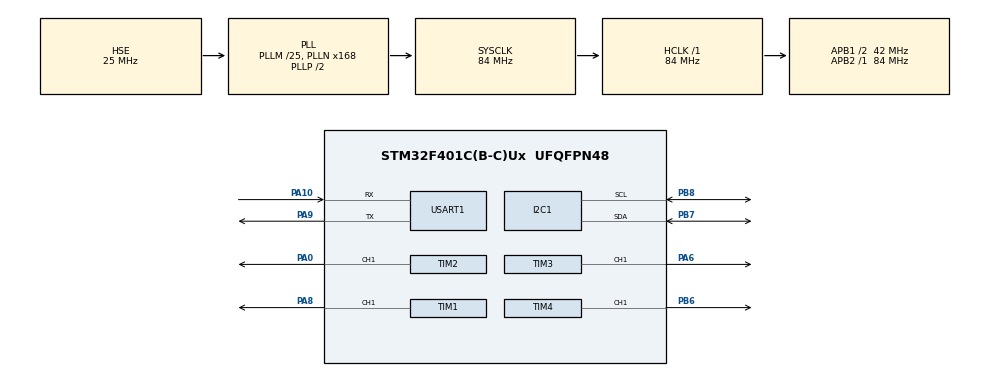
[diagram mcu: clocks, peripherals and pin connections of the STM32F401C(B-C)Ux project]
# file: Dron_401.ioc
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I2C1.OwnAddress=0x12
Mcu.Family=STM32F4
Mcu.Name=STM32F401C(B-C)Ux
Mcu.Package=UFQFPN48
NVIC.I2C1_ER_IRQn=true\:0\:0\:false\:false\:true\:true\:true\:true
NVIC.I2C1_EV_IRQn=true\:0\:0\:false\:false\:true\:true\:true\:true
NVIC.PriorityGroup=NVIC_PRIORITYGROUP_4
NVIC.TIM1_TRG_COM_TIM11_IRQn=true\:15\:0\:false\:false\:true\:false\:true\:true
NVIC.TimeBase=TIM1_TRG_COM_TIM11_IRQn
NVIC.TimeBaseIP=TIM11
NVIC.USART1_IRQn=true\:0\:0\:false\:false\:true\:true\:true\:true
PA0-WKUP.Signal=S_TIM2_CH1_ETR
PA10.Mode=Asynchronous
PA10.Signal=USART1_RX
PA13.Mode=Serial_Wire
PA13.Signal=SYS_JTMS-SWDIO
PA14.Mode=Serial_Wire
PA14.Signal=SYS_JTCK-SWCLK
PA6.Signal=S_TIM3_CH1
PA8.Signal=S_TIM1_CH1
PA9.Mode=Asynchronous
PA9.Signal=USART1_TX
PB6.Signal=S_TIM4_CH1
PB7.Mode=I2C
PB7.Signal=I2C1_SDA
PB8.Mode=I2C
PB8.Signal=I2C1_SCL
PC14-OSC32_IN.Mode=LSE-External-Oscillator
PC14-OSC32_IN.Signal=RCC_OSC32_IN
PC15-OSC32_OUT.Mode=LSE-External-Oscillator
PC15-OSC32_OUT.Signal=RCC_OSC32_OUT
PH0\ -\ OSC_IN.Mode=HSE-External-Oscillator
PH0\ -\ OSC_IN.Signal=RCC_OSC_IN
PH1\ -\ OSC_OUT.Mode=HSE-External-Oscillator
PH1\ -\ OSC_OUT.Signal=RCC_OSC_OUT
ProjectManager.HeapSize=0x200
ProjectManager.StackSize=0x400
ProjectManager.TargetToolchain=STM32CubeIDE
RCC.48MHZClocksFreq_Value=42000000
RCC.AHBFreq_Value=84000000
RCC.APB1CLKDivider=RCC_HCLK_DIV2
RCC.APB1Freq_Value=42000000
RCC.APB1TimFreq_Value=84000000
RCC.APB2Freq_Value=84000000
RCC.APB2TimFreq_Value=84000000
RCC.CortexFreq_Value=84000000
RCC.HCLKFreq_Value=84000000
RCC.HSE_VALUE=25000000
RCC.HSI_VALUE=16000000
RCC.PLLM=25
RCC.PLLN=168
RCC.PLLSourceVirtual=RCC_PLLSOURCE_HSE
RCC.SYSCLKFreq_VALUE=84000000
RCC.SYSCLKSource=RCC_SYSCLKSOURCE_PLLCLK
RCC.VCOOutputFreq_Value=168000000
SH.S_TIM1_CH1.0=TIM1_CH1,PWM Generation1 CH1
SH.S_TIM2_CH1_ETR.0=TIM2_CH1,PWM Generation1 CH1
SH.S_TIM3_CH1.0=TIM3_CH1,PWM Generation1 CH1
SH.S_TIM4_CH1.0=TIM4_CH1,PWM Generation1 CH1
TIM1.Channel-PWM\ Generation1\ CH1=TIM_CHANNEL_1
TIM2.Channel-PWM\ Generation1\ CH1=TIM_CHANNEL_1
TIM3.Channel-PWM\ Generation1\ CH1=TIM_CHANNEL_1
TIM4.Channel-PWM\ Generation1\ CH1=TIM_CHANNEL_1
USART1.VirtualMode=VM_ASYNC
VP_RTC_VS_RTC_Activate.Mode=RTC_Enabled
VP_SYS_VS_tim11.Mode=TIM11
board=custom

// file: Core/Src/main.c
/* USER CODE BEGIN Header */
/**
  ******************************************************************************
  * @file           : main.c
  * @brief          : Main program body
  ******************************************************************************
  * @attention
  *
  * Copyright (c) 2024 STMicroelectronics.
  * All rights reserved.
  *
  * This software is licensed under terms that can be found in the LICENSE file
  * in the root directory of this software component.
  * If no LICENSE file comes with this software, it is provided AS-IS.
  *
  ******************************************************************************
  */
/* USER CODE END Header */
#include "main.h"

I2C_HandleTypeDef hi2c1;

RTC_HandleTypeDef hrtc;

TIM_HandleTypeDef htim1;
TIM_HandleTypeDef htim2;
TIM_HandleTypeDef htim3;
TIM_HandleTypeDef htim4;

UART_HandleTypeDef huart1;

/* USER CODE BEGIN PV */
char rx_buffer[64];
volatile uint8_t rx_index = 0;
volatile uint8_t rx_complete = 0;

void ResetI2C(I2C_HandleTypeDef* rev_i2c)
{
	HAL_I2C_DeInit(rev_i2c);
	HAL_I2C_Init(rev_i2c);
}
/* USER CODE END PV */

void SystemClock_Config(void);
static void MX_GPIO_Init(void);
static void MX_I2C1_Init(void);
static void MX_TIM1_Init(void);
static void MX_TIM2_Init(void);
static void MX_TIM3_Init(void);
static void MX_TIM4_Init(void);
static void MX_RTC_Init(void);
static void MX_USART1_UART_Init(void);
/* USER CODE BEGIN PFP */
void TIM_PWM_Init(uint32_t frequency, TIM_HandleTypeDef *htim);
void ProcessCommand(char* command);
/* USER CODE END PFP */

int main(void)
{

  /* MCU Configuration--------------------------------------------------------*/

  /* Reset of all peripherals, Initializes the Flash interface and the Systick. */
  HAL_Init();

  /* Configure the system clock */
  SystemClock_Config();

  /* Initialize all configured peripherals */
  MX_GPIO_Init();
  MX_I2C1_Init();
  MX_TIM1_Init();
  MX_TIM2_Init();
  MX_TIM3_Init();
  MX_TIM4_Init();
  MX_RTC_Init();
  MX_USART1_UART_Init();
  /* USER CODE BEGIN 2 */

  if (HAL_I2C_EnableListen_IT(&hi2c1) != HAL_OK)
  {
	  Error_Handler();
  }

  //uint32_t frequency = 10000; // Частота таймера (в Гц)
       //  TIM_PWM_Init(frequency, &htim1);
       //  frequency = 111;
       //  TIM_PWM_Init(frequency, &htim2);
       //  frequency = 444;
       //  TIM_PWM_Init(frequency, &htim3);
       //  frequency = 5555;
       // TIM_PWM_Init(frequency, &htim4);

        HAL_UART_Receive_IT(&huart1, (uint8_t *)&rx_buffer[rx_index], 1);
  /* USER CODE END 2 */

  /* Infinite loop */
  while (1)
  {
	  if (rx_complete)
	     {
	       ProcessCommand(rx_buffer);
	       rx_index = 0;
	       rx_complete = 0;
	       HAL_UART_Receive_IT(&huart1, (uint8_t *)&rx_buffer[rx_index], 1);
	     }
  }
}

void SystemClock_Config(void)
{
  RCC_OscInitTypeDef RCC_OscInitStruct = {0};
  RCC_ClkInitTypeDef RCC_ClkInitStruct = {0};

  /** Configure the main internal regulator output voltage
  */
  __HAL_RCC_PWR_CLK_ENABLE();
  __HAL_PWR_VOLTAGESCALING_CONFIG(PWR_REGULATOR_VOLTAGE_SCALE2);

  /** Initializes the RCC Oscillators according to the specified parameters
  * in the RCC_OscInitTypeDef structure.
  */
  RCC_OscInitStruct.OscillatorType = RCC_OSCILLATORTYPE_LSI|RCC_OSCILLATORTYPE_HSE;
  RCC_OscInitStruct.HSEState = RCC_HSE_ON;
  RCC_OscInitStruct.LSIState = RCC_LSI_ON;
  RCC_OscInitStruct.PLL.PLLState = RCC_PLL_ON;
  RCC_OscInitStruct.PLL.PLLSource = RCC_PLLSOURCE_HSE;
  RCC_OscInitStruct.PLL.PLLM = 25;
  RCC_OscInitStruct.PLL.PLLN = 168;
  RCC_OscInitStruct.PLL.PLLP = RCC_PLLP_DIV2;
  RCC_OscInitStruct.PLL.PLLQ = 4;
  if (HAL_RCC_OscConfig(&RCC_OscInitStruct) != HAL_OK)
  {
    Error_Handler();
  }

  /** Initializes the CPU, AHB and APB buses clocks
  */
  RCC_ClkInitStruct.ClockType = RCC_CLOCKTYPE_HCLK|RCC_CLOCKTYPE_SYSCLK
                              |RCC_CLOCKTYPE_PCLK1|RCC_CLOCKTYPE_PCLK2;
  RCC_ClkInitStruct.SYSCLKSource = RCC_SYSCLKSOURCE_PLLCLK;
  RCC_ClkInitStruct.AHBCLKDivider = RCC_SYSCLK_DIV1;
  RCC_ClkInitStruct.APB1CLKDivider = RCC_HCLK_DIV2;
  RCC_ClkInitStruct.APB2CLKDivider = RCC_HCLK_DIV1;

  if (HAL_RCC_ClockConfig(&RCC_ClkInitStruct, FLASH_LATENCY_2) != HAL_OK)
  {
    Error_Handler();
  }
}

static void MX_I2C1_Init(void)
{

  hi2c1.Instance = I2C1;
  hi2c1.Init.ClockSpeed = 100000;
  hi2c1.Init.DutyCycle = I2C_DUTYCYCLE_2;
  hi2c1.Init.OwnAddress1 = 36;
  hi2c1.Init.AddressingMode = I2C_ADDRESSINGMODE_7BIT;
  hi2c1.Init.DualAddressMode = I2C_DUALADDRESS_DISABLE;
  hi2c1.Init.OwnAddress2 = 0;
  hi2c1.Init.GeneralCallMode = I2C_GENERALCALL_DISABLE;
  hi2c1.Init.NoStretchMode = I2C_NOSTRETCH_DISABLE;
  if (HAL_I2C_Init(&hi2c1) != HAL_OK)
  {
    Error_Handler();
  }

}

static void MX_RTC_Init(void)
{

  /** Initialize RTC Only
  */
  hrtc.Instance = RTC;
  hrtc.Init.HourFormat = RTC_HOURFORMAT_24;
  hrtc.Init.AsynchPrediv = 127;
  hrtc.Init.SynchPrediv = 255;
  hrtc.Init.OutPut = RTC_OUTPUT_DISABLE;
  hrtc.Init.OutPutPolarity = RTC_OUTPUT_POLARITY_HIGH;
  hrtc.Init.OutPutType = RTC_OUTPUT_TYPE_OPENDRAIN;
  if (HAL_RTC_Init(&hrtc) != HAL_OK)
  {
    Error_Handler();
  }

}

static void MX_TIM1_Init(void)
{

  TIM_MasterConfigTypeDef sMasterConfig = {0};
  TIM_OC_InitTypeDef sConfigOC = {0};
  TIM_BreakDeadTimeConfigTypeDef sBreakDeadTimeConfig = {0};

  htim1.Instance = TIM1;
  htim1.Init.Prescaler = 0;
  htim1.Init.CounterMode = TIM_COUNTERMODE_UP;
  htim1.Init.Period = 65535;
  htim1.Init.ClockDivision = TIM_CLOCKDIVISION_DIV1;
  htim1.Init.RepetitionCounter = 0;
  htim1.Init.AutoReloadPreload = TIM_AUTORELOAD_PRELOAD_DISABLE;
  if (HAL_TIM_PWM_Init(&htim1) != HAL_OK)
  {
    Error_Handler();
  }
  sMasterConfig.MasterOutputTrigger = TIM_TRGO_RESET;
  sMasterConfig.MasterSlaveMode = TIM_MASTERSLAVEMODE_DISABLE;
  if (HAL_TIMEx_MasterConfigSynchronization(&htim1, &sMasterConfig) != HAL_OK)
  {
    Error_Handler();
  }
  sConfigOC.OCMode = TIM_OCMODE_PWM1;
  sConfigOC.Pulse = 0;
  sConfigOC.OCPolarity = TIM_OCPOLARITY_HIGH;
  sConfigOC.OCNPolarity = TIM_OCNPOLARITY_HIGH;
  sConfigOC.OCFastMode = TIM_OCFAST_DISABLE;
  sConfigOC.OCIdleState = TIM_OCIDLESTATE_RESET;
  sConfigOC.OCNIdleState = TIM_OCNIDLESTATE_RESET;
  if (HAL_TIM_PWM_ConfigChannel(&htim1, &sConfigOC, TIM_CHANNEL_1) != HAL_OK)
  {
    Error_Handler();
  }
  sBreakDeadTimeConfig.OffStateRunMode = TIM_OSSR_DISABLE;
  sBreakDeadTimeConfig.OffStateIDLEMode = TIM_OSSI_DISABLE;
  sBreakDeadTimeConfig.LockLevel = TIM_LOCKLEVEL_OFF;
  sBreakDeadTimeConfig.DeadTime = 0;
  sBreakDeadTimeConfig.BreakState = TIM_BREAK_DISABLE;
  sBreakDeadTimeConfig.BreakPolarity = TIM_BREAKPOLARITY_HIGH;
  sBreakDeadTimeConfig.AutomaticOutput = TIM_AUTOMATICOUTPUT_DISABLE;
  if (HAL_TIMEx_ConfigBreakDeadTime(&htim1, &sBreakDeadTimeConfig) != HAL_OK)
  {
    Error_Handler();
  }
  HAL_TIM_MspPostInit(&htim1);

}

static void MX_TIM2_Init(void)
{

  TIM_MasterConfigTypeDef sMasterConfig = {0};
  TIM_OC_InitTypeDef sConfigOC = {0};

  htim2.Instance = TIM2;
  htim2.Init.Prescaler = 0;
  htim2.Init.CounterMode = TIM_COUNTERMODE_UP;
  htim2.Init.Period = 4294967295;
  htim2.Init.ClockDivision = TIM_CLOCKDIVISION_DIV1;
  htim2.Init.AutoReloadPreload = TIM_AUTORELOAD_PRELOAD_DISABLE;
  if (HAL_TIM_PWM_Init(&htim2) != HAL_OK)
  {
    Error_Handler();
  }
  sMasterConfig.MasterOutputTrigger = TIM_TRGO_RESET;
  sMasterConfig.MasterSlaveMode = TIM_MASTERSLAVEMODE_DISABLE;
  if (HAL_TIMEx_MasterConfigSynchronization(&htim2, &sMasterConfig) != HAL_OK)
  {
    Error_Handler();
  }
  sConfigOC.OCMode = TIM_OCMODE_PWM1;
  sConfigOC.Pulse = 0;
  sConfigOC.OCPolarity = TIM_OCPOLARITY_HIGH;
  sConfigOC.OCFastMode = TIM_OCFAST_DISABLE;
  if (HAL_TIM_PWM_ConfigChannel(&htim2, &sConfigOC, TIM_CHANNEL_1) != HAL_OK)
  {
    Error_Handler();
  }
  HAL_TIM_MspPostInit(&htim2);

}

static void MX_TIM3_Init(void)
{

  TIM_MasterConfigTypeDef sMasterConfig = {0};
  TIM_OC_InitTypeDef sConfigOC = {0};

  htim3.Instance = TIM3;
  htim3.Init.Prescaler = 0;
  htim3.Init.CounterMode = TIM_COUNTERMODE_UP;
  htim3.Init.Period = 65535;
  htim3.Init.ClockDivision = TIM_CLOCKDIVISION_DIV1;
  htim3.Init.AutoReloadPreload = TIM_AUTORELOAD_PRELOAD_DISABLE;
  if (HAL_TIM_PWM_Init(&htim3) != HAL_OK)
  {
    Error_Handler();
  }
  sMasterConfig.MasterOutputTrigger = TIM_TRGO_RESET;
  sMasterConfig.MasterSlaveMode = TIM_MASTERSLAVEMODE_DISABLE;
  if (HAL_TIMEx_MasterConfigSynchronization(&htim3, &sMasterConfig) != HAL_OK)
  {
    Error_Handler();
  }
  sConfigOC.OCMode = TIM_OCMODE_PWM1;
  sConfigOC.Pulse = 0;
  sConfigOC.OCPolarity = TIM_OCPOLARITY_HIGH;
  sConfigOC.OCFastMode = TIM_OCFAST_DISABLE;
  if (HAL_TIM_PWM_ConfigChannel(&htim3, &sConfigOC, TIM_CHANNEL_1) != HAL_OK)
  {
    Error_Handler();
  }
  HAL_TIM_MspPostInit(&htim3);

}

static void MX_TIM4_Init(void)
{

  TIM_MasterConfigTypeDef sMasterConfig = {0};
  TIM_OC_InitTypeDef sConfigOC = {0};

  htim4.Instance = TIM4;
  htim4.Init.Prescaler = 0;
  htim4.Init.CounterMode = TIM_COUNTERMODE_UP;
  htim4.Init.Period = 65535;
  htim4.Init.ClockDivision = TIM_CLOCKDIVISION_DIV1;
  htim4.Init.AutoReloadPreload = TIM_AUTORELOAD_PRELOAD_DISABLE;
  if (HAL_TIM_PWM_Init(&htim4) != HAL_OK)
  {
    Error_Handler();
  }
  sMasterConfig.MasterOutputTrigger = TIM_TRGO_RESET;
  sMasterConfig.MasterSlaveMode = TIM_MASTERSLAVEMODE_DISABLE;
  if (HAL_TIMEx_MasterConfigSynchronization(&htim4, &sMasterConfig) != HAL_OK)
  {
    Error_Handler();
  }
  sConfigOC.OCMode = TIM_OCMODE_PWM1;
  sConfigOC.Pulse = 0;
  sConfigOC.OCPolarity = TIM_OCPOLARITY_HIGH;
  sConfigOC.OCFastMode = TIM_OCFAST_DISABLE;
  if (HAL_TIM_PWM_ConfigChannel(&htim4, &sConfigOC, TIM_CHANNEL_1) != HAL_OK)
  {
    Error_Handler();
  }
  HAL_TIM_MspPostInit(&htim4);

}

static void MX_USART1_UART_Init(void)
{

  huart1.Instance = USART1;
  huart1.Init.BaudRate = 115200;
  huart1.Init.WordLength = UART_WORDLENGTH_8B;
  huart1.Init.StopBits = UART_STOPBITS_1;
  huart1.Init.Parity = UART_PARITY_NONE;
  huart1.Init.Mode = UART_MODE_TX_RX;
  huart1.Init.HwFlowCtl = UART_HWCONTROL_NONE;
  huart1.Init.OverSampling = UART_OVERSAMPLING_16;
  if (HAL_UART_Init(&huart1) != HAL_OK)
  {
    Error_Handler();
  }

}

static void MX_GPIO_Init(void)
{

  /* GPIO Ports Clock Enable */
  __HAL_RCC_GPIOC_CLK_ENABLE();
  __HAL_RCC_GPIOH_CLK_ENABLE();
  __HAL_RCC_GPIOA_CLK_ENABLE();
  __HAL_RCC_GPIOB_CLK_ENABLE();

}

/* USER CODE BEGIN 4 */
void TIM_PWM_Init(uint32_t frequency, TIM_HandleTypeDef *htim) {

	// Включение тактирования соответствующего таймера
	  if (htim->Instance == TIM1) {
	    __HAL_RCC_TIM1_CLK_ENABLE();
	  } else if (htim->Instance == TIM2) {
	    __HAL_RCC_TIM2_CLK_ENABLE();
	  } else if (htim->Instance == TIM3) {
	    __HAL_RCC_TIM3_CLK_ENABLE();
	  }
	  else if (htim->Instance == TIM4) {
	  	    __HAL_RCC_TIM4_CLK_ENABLE();
	  	  }

	 uint32_t period = HAL_RCC_GetPCLK2Freq() / frequency /84;

	  TIM_MasterConfigTypeDef sMasterConfig = {0};
	  TIM_OC_InitTypeDef sConfigOC = {0};
	  TIM_BreakDeadTimeConfigTypeDef sBreakDeadTimeConfig = {0};

	  /* USER CODE BEGIN TIM1_Init 1 */

	  /* USER CODE END TIM1_Init 1 */
	//  htim->Instance = TIM1;
	  htim->Init.Prescaler = 84 - 1;
	  htim->Init.CounterMode = TIM_COUNTERMODE_UP;
	  htim->Init.Period = period- 1;
	  htim->Init.ClockDivision = TIM_CLOCKDIVISION_DIV1;
	  htim->Init.RepetitionCounter = 0;
	  htim->Init.AutoReloadPreload = TIM_AUTORELOAD_PRELOAD_DISABLE;
	  if (HAL_TIM_PWM_Init(htim) != HAL_OK)
	  {
	    Error_Handler();
	  }
	  sMasterConfig.MasterOutputTrigger = TIM_TRGO_RESET;
	  sMasterConfig.MasterSlaveMode = TIM_MASTERSLAVEMODE_DISABLE;
	  if (HAL_TIMEx_MasterConfigSynchronization(htim, &sMasterConfig) != HAL_OK)
	  {
	    Error_Handler();
	  }
	  sConfigOC.OCMode = TIM_OCMODE_PWM1;
	  sConfigOC.Pulse = period/2;
	  sConfigOC.OCPolarity = TIM_OCPOLARITY_HIGH;
	  sConfigOC.OCNPolarity = TIM_OCNPOLARITY_HIGH;
	  sConfigOC.OCFastMode = TIM_OCFAST_DISABLE;
	  sConfigOC.OCIdleState = TIM_OCIDLESTATE_RESET;
	  sConfigOC.OCNIdleState = TIM_OCNIDLESTATE_RESET;
	  if (HAL_TIM_PWM_ConfigChannel(htim, &sConfigOC, TIM_CHANNEL_1) != HAL_OK)
	  {
	    Error_Handler();
	  }
	  sBreakDeadTimeConfig.OffStateRunMode = TIM_OSSR_DISABLE;
	  sBreakDeadTimeConfig.OffStateIDLEMode = TIM_OSSI_DISABLE;
	  sBreakDeadTimeConfig.LockLevel = TIM_LOCKLEVEL_OFF;
	  sBreakDeadTimeConfig.DeadTime = 0;
	  sBreakDeadTimeConfig.BreakState = TIM_BREAK_DISABLE;
	  sBreakDeadTimeConfig.BreakPolarity = TIM_BREAKPOLARITY_HIGH;
	  sBreakDeadTimeConfig.AutomaticOutput = TIM_AUTOMATICOUTPUT_DISABLE;
	  if (HAL_TIMEx_ConfigBreakDeadTime(htim, &sBreakDeadTimeConfig) != HAL_OK)
	  {
	    Error_Handler();
	  }
	  /* USER CODE BEGIN TIM1_Init 2 */

	  /* USER CODE END TIM1_Init 2 */
	  HAL_TIM_MspPostInit(htim);
	  HAL_TIM_PWM_Start(htim, TIM_CHANNEL_1);

}

void ProcessCommand(char* command)
{
	 // Инициализируем переменные для хранения номера и значения таймера
	  int timer_number = -1; // Инициализируем отрицательным значением для обнаружения ошибки
	  int timer_value = -1;

	  // Разбиваем строку команды на токены с использованием разделителя ":"
	  char* token = strtok(command, ":");

	  // Первый токен должен быть ключевым словом "CMD"
	  if (token != NULL && strcmp(token, "CMD") == 0)
	  {
	    // Получаем следующий токен (название команды)
	    token = strtok(NULL, ":");
	    if (token != NULL && strcmp(token, "SET_TIMER") == 0)
	    {
	      // Получаем номер таймера
	      token = strtok(NULL, ":");
	      if (token != NULL)
	      {
	        timer_number = atoi(token); // Преобразуем строку в число
	        // Получаем значение таймера
	        token = strtok(NULL, ":");
	        if (token != NULL)
	        {
	          timer_value = atoi(token); // Преобразуем строку в число
	        }
	      }
	    }
	  }

	  // Проверяем, были ли успешно получены номер и значение таймера
	  if (timer_number >= 0 && timer_value >= 0)
	  {

		  if(timer_number==1){
			  TIM_PWM_Init(timer_value, &htim1);
		  }
		  else if(timer_number==2){
			  TIM_PWM_Init(timer_value, &htim2);
		  }
		  else if(timer_number==3){
			  TIM_PWM_Init(timer_value, &htim3);
		 		  }
		  else if(timer_number==4){
			  TIM_PWM_Init(timer_value, &htim4);
		 		  }

	    // Здесь можно добавить код для установки таймера с полученными параметрами
	    // Например, вызов функции для установки таймера TIM1 с полученным значением timer_value
	    // set_timer(TIM1, timer_value);
	    // Также можно использовать номер таймера для определения, какой именно таймер устанавливается
	  }
	  else
	  {
	    // Обработка ошибки: команда была некорректной или отсутствовали параметры
	  }
}

void HAL_UART_RxCpltCallback(UART_HandleTypeDef *huart)
{
  if (huart == &huart1)
  {
    if (rx_buffer[rx_index] == '\n' || rx_buffer[rx_index] == '\r')
    {
      rx_buffer[rx_index] = '\0';
      rx_complete = 1;
    }
    else
    {
      rx_index++;
      HAL_UART_Receive_IT(&huart1, (uint8_t *)&rx_buffer[rx_index], 1);
    }
  }
}

/* USER CODE END 4 */

void HAL_TIM_PeriodElapsedCallback(TIM_HandleTypeDef *htim)
{
  if (htim->Instance == TIM11) {
    HAL_IncTick();
  }
}

void Error_Handler(void)
{
  __disable_irq();
  while (1)
  {
  }
}
